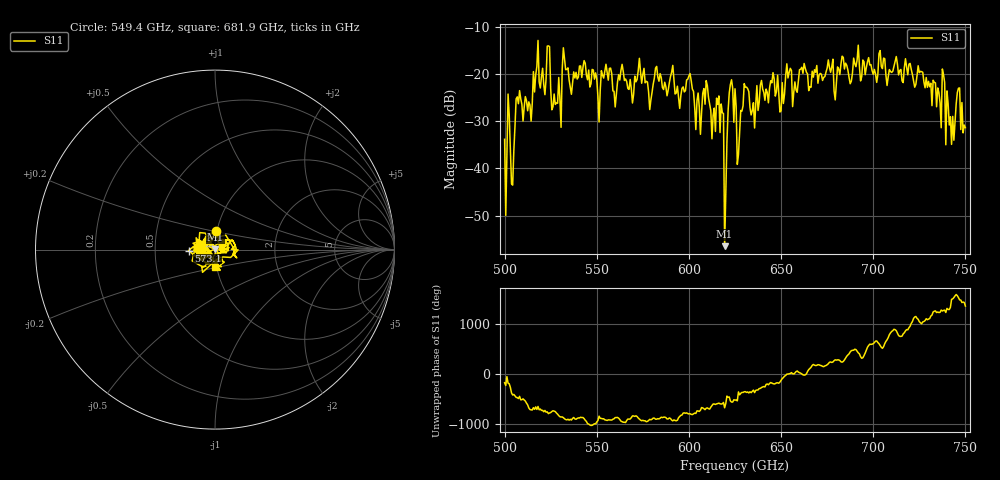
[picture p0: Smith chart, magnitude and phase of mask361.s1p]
!Created with skrf (http://scikit-rf.org).
# GHz S MA R 50.0
!freq magS11 angS11
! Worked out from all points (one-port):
!   401 points, 500 GHz to 750 GHz, reference 50 ohm
!   lowest |S11| = -56.5 dB at 619.4 GHz (marker M1), VSWR 1.00, Z = 50.1 + j0.112 ohm
!   |S11| at or under -10 dB: start of sweep to end of sweep
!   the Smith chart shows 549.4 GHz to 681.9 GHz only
!   S11 on the Smith chart (normalised r, x): 549.4 GHz: 0.99, +0.21; 573.1 GHz: 0.74, -0.01; 681.9 GHz: 0.98, -0.20
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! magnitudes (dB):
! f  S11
! 500 GHz  -33.8
! 504.4 GHz  -43.5
! 507.5 GHz  -26.3
! 513.8 GHz  -26.5
! 516.9 GHz  -20.1
! 523.8 GHz  -14.0
! 526.9 GHz  -24.2
! 531.2 GHz  -18.9
! 549.4 GHz  -19.7
! 562.5 GHz  -21.2
! 573.1 GHz  -16.6
! 593.8 GHz  -22.5
! 616.2 GHz  -24.6
! 619.4 GHz  -56.5
! 620.6 GHz  -34.3
! 622.5 GHz  -22.2
! 625 GHz  -23.1
! 627.5 GHz  -32.5
! 631.2 GHz  -22.7
! 634.4 GHz  -27.7
! 656.2 GHz  -26.9
! 681.9 GHz  -20.1
! 687.5 GHz  -22.0
! 718.8 GHz  -20.1
! 738.8 GHz  -21.8
! 742.5 GHz  -34.9
! 746.9 GHz  -22.9
! 750 GHz  -31.3
